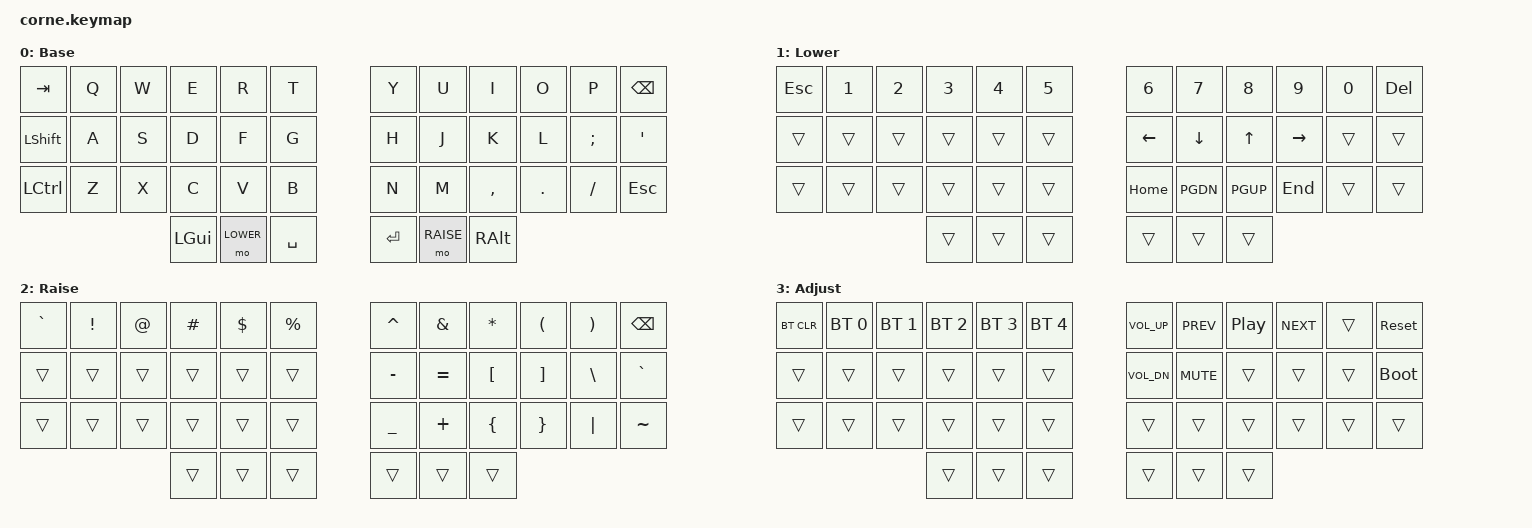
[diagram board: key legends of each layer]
#include <behaviors.dtsi>
#include <dt-bindings/zmk/keys.h>
#include <dt-bindings/zmk/bt.h>

#define BASE 0
#define LOWER 1
#define RAISE 2
#define ADJUST 3

/ {
    conditional_layers {
        compatible = "zmk,conditional-layers";
        tri_layer {
            if-layers = <LOWER RAISE>;
            then-layer = <ADJUST>;
        };
    };

    keymap {
        compatible = "zmk,keymap";

        base_layer {
            display-name = "Base";
            bindings = <
&kp TAB   &kp Q &kp W &kp E &kp R &kp T     &kp Y &kp U  &kp I     &kp O   &kp P    &kp BSPC
&kp LSHFT &kp A &kp S &kp D &kp F &kp G     &kp H &kp J  &kp K     &kp L   &kp SEMI &kp SQT
&kp LCTRL &kp Z &kp X &kp C &kp V &kp B     &kp N &kp M  &kp COMMA &kp DOT &kp FSLH &kp ESC
                  &kp LGUI &mo LOWER &kp SPACE      &kp RET &mo RAISE &kp RALT
            >;
        };

        lower_layer {
            display-name = "Lower";
            bindings = <
&kp ESC   &kp N1 &kp N2 &kp N3 &kp N4 &kp N5     &kp N6   &kp N7   &kp N8   &kp N9    &kp N0 &kp DEL
&trans    &trans &trans &trans &trans &trans     &kp LEFT &kp DOWN &kp UP   &kp RIGHT &trans &trans
&trans    &trans &trans &trans &trans &trans     &kp HOME &kp PGDN &kp PGUP &kp END   &trans &trans
                                &trans &trans &trans     &trans   &trans   &trans
            >;
        };

        raise_layer {
            display-name = "Raise";
            bindings = <
&kp GRAVE &kp EXCL &kp AT &kp HASH &kp DLLR &kp PRCNT    &kp CARET &kp AMPS  &kp STAR &kp LPAR &kp RPAR &kp BSPC
&trans    &trans   &trans &trans   &trans   &trans       &kp MINUS &kp EQUAL &kp LBKT &kp RBKT &kp BSLH &kp GRAVE
&trans    &trans   &trans &trans   &trans   &trans       &kp UNDER &kp PLUS  &kp LBRC &kp RBRC &kp PIPE &kp TILDE
                                  &trans   &trans   &trans       &trans    &trans    &trans
            >;
        };

        adjust_layer {
            display-name = "Adjust";
            bindings = <
&bt BT_CLR &bt BT_SEL 0 &bt BT_SEL 1 &bt BT_SEL 2 &bt BT_SEL 3 &bt BT_SEL 4    &kp C_VOL_UP &kp C_PREV &kp C_PP &kp C_NEXT &trans &sys_reset
&trans     &trans       &trans       &trans       &trans       &trans          &kp C_VOL_DN &kp C_MUTE &trans   &trans     &trans &bootloader
&trans     &trans       &trans       &trans       &trans       &trans          &trans       &trans     &trans   &trans     &trans &trans
                                             &trans       &trans       &trans          &trans       &trans     &trans
            >;
        };
    };
};
